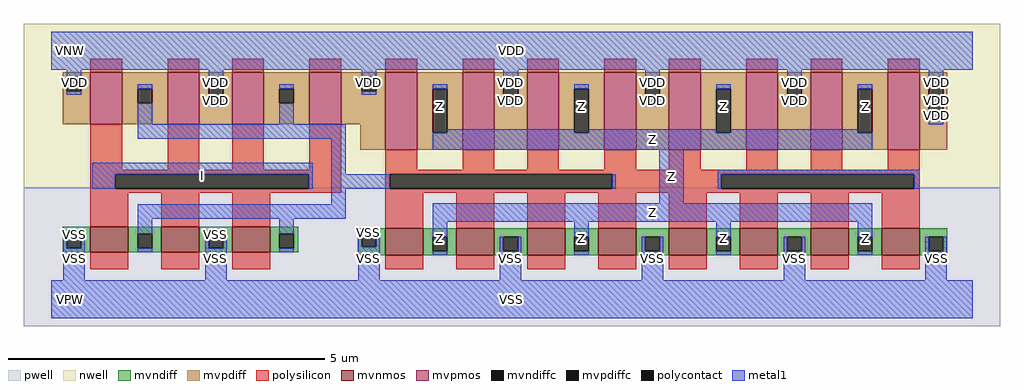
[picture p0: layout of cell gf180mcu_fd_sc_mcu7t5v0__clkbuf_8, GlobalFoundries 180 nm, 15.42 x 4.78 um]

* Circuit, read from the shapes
.subckt gf180mcu_fd_sc_mcu7t5v0__clkbuf_8 I Z VDD VNW VPW VSS
XM1 n1 I VSS VPW nfet_06v0 w=0.405u l=0.6u m=3
XM2 Z n1 VSS VPW nfet_06v0 w=0.43u l=0.6u m=8
XM3 n1 I VDD VNW pfet_06v0 w=0.82u l=0.5u m=4
XM4 Z n1 VDD VNW pfet_06v0 w=1.22u l=0.5u m=8
.ends

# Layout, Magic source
magic
tech gf180mcuD
magscale 1 10
<< nwell >>
rect -86 352 2998 870
<< pwell >>
rect -86 -86 2998 352
<< mvnmos >>
rect 124 148 244 229
rect 348 148 468 229
rect 572 148 692 229
rect 1056 138 1176 224
rect 1280 138 1400 224
rect 1504 138 1624 224
rect 1728 138 1848 224
rect 1952 138 2072 224
rect 2176 138 2296 224
rect 2400 138 2520 224
rect 2624 138 2744 224
<< mvpmos >>
rect 124 552 224 716
rect 368 552 468 716
rect 572 552 672 716
rect 816 552 916 716
rect 1056 472 1156 716
rect 1300 472 1400 716
rect 1504 472 1604 716
rect 1748 472 1848 716
rect 1952 472 2052 716
rect 2196 472 2296 716
rect 2400 472 2500 716
rect 2644 472 2744 716
<< mvndiff >>
rect 36 207 124 229
rect 36 161 49 207
rect 95 161 124 207
rect 36 148 124 161
rect 244 207 348 229
rect 244 161 273 207
rect 319 161 348 207
rect 244 148 348 161
rect 468 207 572 229
rect 468 161 497 207
rect 543 161 572 207
rect 468 148 572 161
rect 692 207 780 229
rect 692 161 721 207
rect 767 161 780 207
rect 692 148 780 161
rect 968 211 1056 224
rect 968 165 981 211
rect 1027 165 1056 211
rect 968 138 1056 165
rect 1176 197 1280 224
rect 1176 151 1205 197
rect 1251 151 1280 197
rect 1176 138 1280 151
rect 1400 197 1504 224
rect 1400 151 1429 197
rect 1475 151 1504 197
rect 1400 138 1504 151
rect 1624 197 1728 224
rect 1624 151 1653 197
rect 1699 151 1728 197
rect 1624 138 1728 151
rect 1848 197 1952 224
rect 1848 151 1877 197
rect 1923 151 1952 197
rect 1848 138 1952 151
rect 2072 197 2176 224
rect 2072 151 2101 197
rect 2147 151 2176 197
rect 2072 138 2176 151
rect 2296 197 2400 224
rect 2296 151 2325 197
rect 2371 151 2400 197
rect 2296 138 2400 151
rect 2520 197 2624 224
rect 2520 151 2549 197
rect 2595 151 2624 197
rect 2520 138 2624 151
rect 2744 197 2832 224
rect 2744 151 2773 197
rect 2819 151 2832 197
rect 2744 138 2832 151
<< mvpdiff >>
rect 36 703 124 716
rect 36 657 49 703
rect 95 657 124 703
rect 36 552 124 657
rect 224 665 368 716
rect 224 619 273 665
rect 319 619 368 665
rect 224 552 368 619
rect 468 667 572 716
rect 468 621 497 667
rect 543 621 572 667
rect 468 552 572 621
rect 672 665 816 716
rect 672 619 721 665
rect 767 619 816 665
rect 672 552 816 619
rect 916 703 1056 716
rect 916 657 981 703
rect 1027 657 1056 703
rect 916 552 1056 657
rect 976 472 1056 552
rect 1156 665 1300 716
rect 1156 525 1205 665
rect 1251 525 1300 665
rect 1156 472 1300 525
rect 1400 667 1504 716
rect 1400 621 1429 667
rect 1475 621 1504 667
rect 1400 472 1504 621
rect 1604 665 1748 716
rect 1604 525 1653 665
rect 1699 525 1748 665
rect 1604 472 1748 525
rect 1848 667 1952 716
rect 1848 621 1877 667
rect 1923 621 1952 667
rect 1848 472 1952 621
rect 2052 665 2196 716
rect 2052 525 2101 665
rect 2147 525 2196 665
rect 2052 472 2196 525
rect 2296 667 2400 716
rect 2296 621 2325 667
rect 2371 621 2400 667
rect 2296 472 2400 621
rect 2500 665 2644 716
rect 2500 525 2549 665
rect 2595 525 2644 665
rect 2500 472 2644 525
rect 2744 703 2832 716
rect 2744 563 2773 703
rect 2819 563 2832 703
rect 2744 472 2832 563
<< mvndiffc >>
rect 49 161 95 207
rect 273 161 319 207
rect 497 161 543 207
rect 721 161 767 207
rect 981 165 1027 211
rect 1205 151 1251 197
rect 1429 151 1475 197
rect 1653 151 1699 197
rect 1877 151 1923 197
rect 2101 151 2147 197
rect 2325 151 2371 197
rect 2549 151 2595 197
rect 2773 151 2819 197
<< mvpdiffc >>
rect 49 657 95 703
rect 273 619 319 665
rect 497 621 543 667
rect 721 619 767 665
rect 981 657 1027 703
rect 1205 525 1251 665
rect 1429 621 1475 667
rect 1653 525 1699 665
rect 1877 621 1923 667
rect 2101 525 2147 665
rect 2325 621 2371 667
rect 2549 525 2595 665
rect 2773 563 2819 703
<< polysilicon >>
rect 124 716 224 760
rect 368 716 468 760
rect 572 716 672 760
rect 816 716 916 760
rect 1056 716 1156 760
rect 1300 716 1400 760
rect 1504 716 1604 760
rect 1748 716 1848 760
rect 1952 716 2052 760
rect 2196 716 2296 760
rect 2400 716 2500 760
rect 2644 716 2744 760
rect 124 408 224 552
rect 368 408 468 552
rect 572 408 672 552
rect 816 408 916 552
rect 124 395 916 408
rect 124 349 203 395
rect 813 349 916 395
rect 124 336 916 349
rect 1056 408 1156 472
rect 1300 408 1400 472
rect 1504 408 1604 472
rect 1748 408 1848 472
rect 1952 408 2052 472
rect 2196 408 2296 472
rect 2400 408 2500 472
rect 2644 408 2744 472
rect 1056 395 2744 408
rect 1056 349 1069 395
rect 1773 349 2117 395
rect 2727 349 2744 395
rect 1056 336 2744 349
rect 124 229 244 336
rect 348 229 468 336
rect 572 229 692 336
rect 1056 224 1176 336
rect 1280 224 1400 336
rect 1504 224 1624 336
rect 1728 224 1848 336
rect 1952 224 2072 336
rect 2176 224 2296 336
rect 2400 224 2520 336
rect 2624 224 2744 336
rect 124 94 244 148
rect 348 94 468 148
rect 572 94 692 148
rect 1056 94 1176 138
rect 1280 94 1400 138
rect 1504 94 1624 138
rect 1728 94 1848 138
rect 1952 94 2072 138
rect 2176 94 2296 138
rect 2400 94 2520 138
rect 2624 94 2744 138
<< polycontact >>
rect 203 349 813 395
rect 1069 349 1773 395
rect 2117 349 2727 395
<< metal1 >>
rect 0 724 2912 844
rect 49 703 95 724
rect 49 646 95 657
rect 273 665 319 678
rect 273 552 319 619
rect 497 667 543 724
rect 981 703 1027 724
rect 497 610 543 621
rect 721 665 767 678
rect 981 646 1027 657
rect 1205 665 1251 678
rect 721 552 767 619
rect 273 506 931 552
rect 130 395 826 430
rect 130 349 203 395
rect 813 349 826 395
rect 885 395 931 506
rect 1429 667 1475 724
rect 1429 610 1475 621
rect 1653 665 1699 678
rect 1251 525 1653 536
rect 1877 667 1923 724
rect 1877 610 1923 621
rect 2101 665 2147 678
rect 1699 525 2101 536
rect 2325 667 2371 724
rect 2773 703 2819 724
rect 2325 610 2371 621
rect 2549 665 2595 678
rect 2147 525 2549 536
rect 2773 552 2819 563
rect 1205 472 2595 525
rect 885 349 1069 395
rect 1773 349 1784 395
rect 885 348 1784 349
rect 885 300 931 348
rect 1922 302 1998 472
rect 2106 395 2744 408
rect 2106 349 2117 395
rect 2727 349 2744 395
rect 2106 348 2744 349
rect 273 254 931 300
rect 38 207 106 208
rect 38 161 49 207
rect 95 161 106 207
rect 38 60 106 161
rect 273 207 319 254
rect 273 148 319 161
rect 486 207 554 208
rect 486 161 497 207
rect 543 161 554 207
rect 486 60 554 161
rect 721 207 767 254
rect 1205 244 2595 302
rect 721 148 767 161
rect 970 165 981 211
rect 1027 165 1038 211
rect 970 60 1038 165
rect 1205 197 1251 244
rect 1653 197 1699 244
rect 2101 197 2147 244
rect 2549 197 2595 244
rect 1205 138 1251 151
rect 1418 151 1429 197
rect 1475 151 1486 197
rect 1418 60 1486 151
rect 1653 138 1699 151
rect 1866 151 1877 197
rect 1923 151 1934 197
rect 1866 60 1934 151
rect 2101 138 2147 151
rect 2314 151 2325 197
rect 2371 151 2382 197
rect 2314 60 2382 151
rect 2549 138 2595 151
rect 2762 151 2773 197
rect 2819 151 2830 197
rect 2762 60 2830 151
rect 0 -60 2912 60
<< labels >>
flabel metal1 s 2549 536 2595 678 0 FreeSans 600 0 0 0 Z
port 2 nsew default output
flabel metal1 s 970 208 1038 211 0 FreeSans 400 0 0 0 VSS
port 6 nsew ground bidirectional abutment
flabel metal1 s 0 724 2912 844 0 FreeSans 400 0 0 0 VDD
port 3 nsew power bidirectional abutment
flabel metal1 s 130 349 826 430 0 FreeSans 600 0 0 0 I
port 1 nsew default input
flabel nwell s 10 734 110 834 0 FreeSans 400 0 0 0 VNW
port 4 nsew power bidirectional
flabel pwell s 10 -50 110 50 0 FreeSans 400 0 0 0 VPW
port 5 nsew ground bidirectional
rlabel metal1 s 2101 536 2147 678 1 Z
port 2 nsew default output
rlabel metal1 s 1653 536 1699 678 1 Z
port 2 nsew default output
rlabel metal1 s 1205 536 1251 678 1 Z
port 2 nsew default output
rlabel metal1 s 1205 472 2595 536 1 Z
port 2 nsew default output
rlabel metal1 s 1922 302 1998 472 1 Z
port 2 nsew default output
rlabel metal1 s 1205 244 2595 302 1 Z
port 2 nsew default output
rlabel metal1 s 2549 138 2595 244 1 Z
port 2 nsew default output
rlabel metal1 s 2101 138 2147 244 1 Z
port 2 nsew default output
rlabel metal1 s 1653 138 1699 244 1 Z
port 2 nsew default output
rlabel metal1 s 1205 138 1251 244 1 Z
port 2 nsew default output
rlabel metal1 s 2773 646 2819 724 1 VDD
port 3 nsew power bidirectional abutment
rlabel metal1 s 2325 646 2371 724 1 VDD
port 3 nsew power bidirectional abutment
rlabel metal1 s 1877 646 1923 724 1 VDD
port 3 nsew power bidirectional abutment
rlabel metal1 s 1429 646 1475 724 1 VDD
port 3 nsew power bidirectional abutment
rlabel metal1 s 981 646 1027 724 1 VDD
port 3 nsew power bidirectional abutment
rlabel metal1 s 497 646 543 724 1 VDD
port 3 nsew power bidirectional abutment
rlabel metal1 s 49 646 95 724 1 VDD
port 3 nsew power bidirectional abutment
rlabel metal1 s 2773 610 2819 646 1 VDD
port 3 nsew power bidirectional abutment
rlabel metal1 s 2325 610 2371 646 1 VDD
port 3 nsew power bidirectional abutment
rlabel metal1 s 1877 610 1923 646 1 VDD
port 3 nsew power bidirectional abutment
rlabel metal1 s 1429 610 1475 646 1 VDD
port 3 nsew power bidirectional abutment
rlabel metal1 s 497 610 543 646 1 VDD
port 3 nsew power bidirectional abutment
rlabel metal1 s 2773 552 2819 610 1 VDD
port 3 nsew power bidirectional abutment
rlabel metal1 s 970 197 1038 208 1 VSS
port 6 nsew ground bidirectional abutment
rlabel metal1 s 486 197 554 208 1 VSS
port 6 nsew ground bidirectional abutment
rlabel metal1 s 38 197 106 208 1 VSS
port 6 nsew ground bidirectional abutment
rlabel metal1 s 2762 60 2830 197 1 VSS
port 6 nsew ground bidirectional abutment
rlabel metal1 s 2314 60 2382 197 1 VSS
port 6 nsew ground bidirectional abutment
rlabel metal1 s 1866 60 1934 197 1 VSS
port 6 nsew ground bidirectional abutment
rlabel metal1 s 1418 60 1486 197 1 VSS
port 6 nsew ground bidirectional abutment
rlabel metal1 s 970 60 1038 197 1 VSS
port 6 nsew ground bidirectional abutment
rlabel metal1 s 486 60 554 197 1 VSS
port 6 nsew ground bidirectional abutment
rlabel metal1 s 38 60 106 197 1 VSS
port 6 nsew ground bidirectional abutment
rlabel metal1 s 0 -60 2912 60 1 VSS
port 6 nsew ground bidirectional abutment
<< properties >>
string FIXED_BBOX 0 0 2912 784
string GDS_END 780136
string GDS_FILE $PDKPATH/libs.ref/gf180mcu_fd_sc_mcu7t5v0/gds/gf180mcu_fd_sc_mcu7t5v0.gds
string GDS_START 773380
string LEFclass core
string LEFsite GF018hv5v_mcu_sc7
string LEFsymmetry X Y
<< end >>
